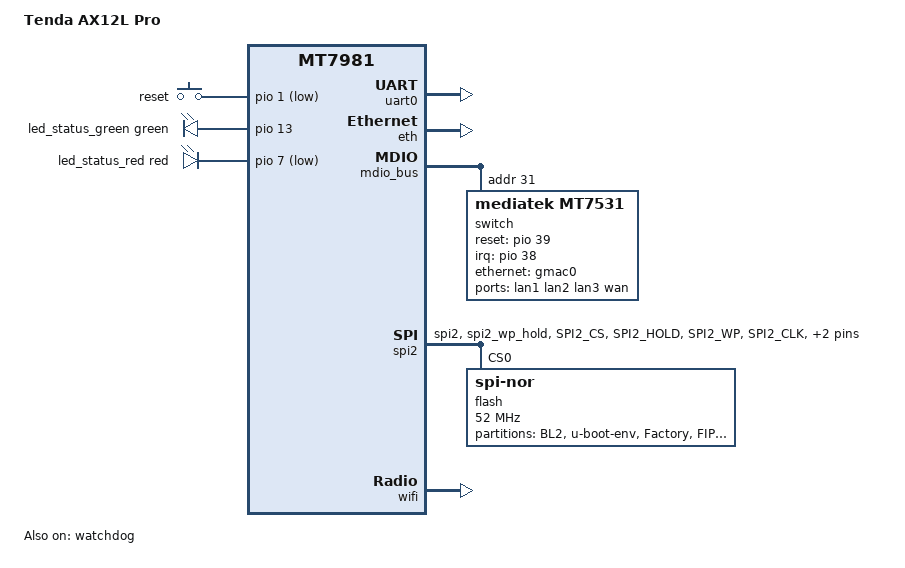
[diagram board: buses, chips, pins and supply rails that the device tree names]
/dts-v1/;

#include "mt7981b.dtsi"

/ {
	model = "Tenda AX12L Pro";
	compatible = "tenda,ax12l-pro", "mediatek,mt7981";

	aliases {
		led-boot = &led_status_green;
		led-failsafe = &led_status_red;
		led-running = &led_status_green;
		led-upgrade = &led_status_red;
		serial0 = &uart0;
	};

	chosen {
		stdout-path = "serial0:115200n8";
		bootargs-override = "earlycon=uart8250,mmio32,0x11002000 console=ttyS0,115200n8";
	};

	gpio-keys {
		compatible = "gpio-keys";

		reset {
			label = "reset";
			linux,code = <KEY_RESTART>;
			gpios = <&pio 1 GPIO_ACTIVE_LOW>;
		};
	};

	leds {
		compatible = "gpio-leds";

		led_status_green: status_green {
			function = LED_FUNCTION_STATUS;
			color = <LED_COLOR_ID_GREEN>;
			gpios = <&pio 13 GPIO_ACTIVE_HIGH>;
		};

		led_status_red: status_red {
			function = LED_FUNCTION_STATUS;
			color = <LED_COLOR_ID_RED>;
			gpios = <&pio 7 GPIO_ACTIVE_LOW>;
		};
	};
};

&uart0 {
	status = "okay";
};

&watchdog {
	status = "okay";
};

&eth {
	pinctrl-names = "default";
	pinctrl-0 = <&mdio_pins>;
	status = "okay";

	gmac0: mac@0 {
		compatible = "mediatek,eth-mac";
		reg = <0>;
		phy-mode = "2500base-x";

		fixed-link {
			speed = <2500>;
			full-duplex;
			pause;
		};
	};
};

&mdio_bus {
	switch: switch@1f {
		compatible = "mediatek,mt7531";
		reg = <31>;
		reset-gpios = <&pio 39 GPIO_ACTIVE_HIGH>;
		interrupt-controller;
		#interrupt-cells = <1>;
		interrupt-parent = <&pio>;
		interrupts = <38 IRQ_TYPE_LEVEL_HIGH>;
	};
};

&switch {
	ports {
		#address-cells = <1>;
		#size-cells = <0>;

		port@0 {
			reg = <0>;
			label = "lan1";
		};

		port@1 {
			reg = <1>;
			label = "lan2";
		};

		port@2 {
			reg = <2>;
			label = "lan3";
		};

		port@3 {
			reg = <3>;
			label = "wan";
		};

		port@6 {
			reg = <6>;
			ethernet = <&gmac0>;
			phy-mode = "2500base-x";

			fixed-link {
				speed = <2500>;
				full-duplex;
				pause;
			};
		};
	};
};

&spi2 {
	pinctrl-names = "default";
	pinctrl-0 = <&spi2_flash_pins>;
	status = "okay";

	flash@0 {
		compatible = "jedec,spi-nor";
		reg = <0>;

		force-sr-unprotect;

		spi-max-frequency = <52000000>;
		spi-tx-bus-width = <4>;
		spi-rx-bus-width = <4>;

		partitions {
			compatible = "fixed-partitions";
			#address-cells = <1>;
			#size-cells = <1>;

			partition@00000 {
				label = "BL2";
				reg = <0x00000 0x0040000>;
				read-only;
			};

			partition@40000 {
				label = "u-boot-env";
				reg = <0x40000 0x0010000>;
			};

			partition@50000 {
				label = "Factory";
				reg = <0x50000 0x00a0000>; /* 640K */
				read-only;

				nvmem-layout {
					compatible = "fixed-layout";
					#address-cells = <1>;
					#size-cells = <1>;

					eeprom_factory_0: eeprom@0 {
						reg = <0x0 0x1000>;
					};
				};
			};

			partition@f0000 {
				label = "FIP";
				reg = <0xf0000 0x0090000>; /* 576K */
				read-only;
			};

			partition@180000 {
				label = "firmware";
				reg = <0x180000 0x0e50000>;
			};

			partition@fd0000 {
				label = "CFG";
				reg = <0xfd0000 0x0010000>; /* 64k */
				read-only;
			};

			partition@fe0000 {
				label = "MISC2";
				reg = <0xfe0000 0x0010000>; /* 64k */
				read-only;
			};
		};
	};
};

&pio {
	spi2_flash_pins: spi2-pins {
		mux {
			function = "spi";
			groups = "spi2", "spi2_wp_hold";
		};

		conf-pu {
			pins = "SPI2_CS", "SPI2_HOLD", "SPI2_WP";
			drive-strength = <MTK_DRIVE_8mA>;
			bias-pull-up = <MTK_PUPD_SET_R1R0_11>;
		};

		conf-pd {
			pins = "SPI2_CLK", "SPI2_MOSI", "SPI2_MISO";
			drive-strength = <MTK_DRIVE_8mA>;
			bias-pull-down = <MTK_PUPD_SET_R1R0_11>;
		};
	};
};

&wifi {
	status = "okay";
	nvmem-cells = <&eeprom_factory_0>;
	nvmem-cell-names = "eeprom";
};
